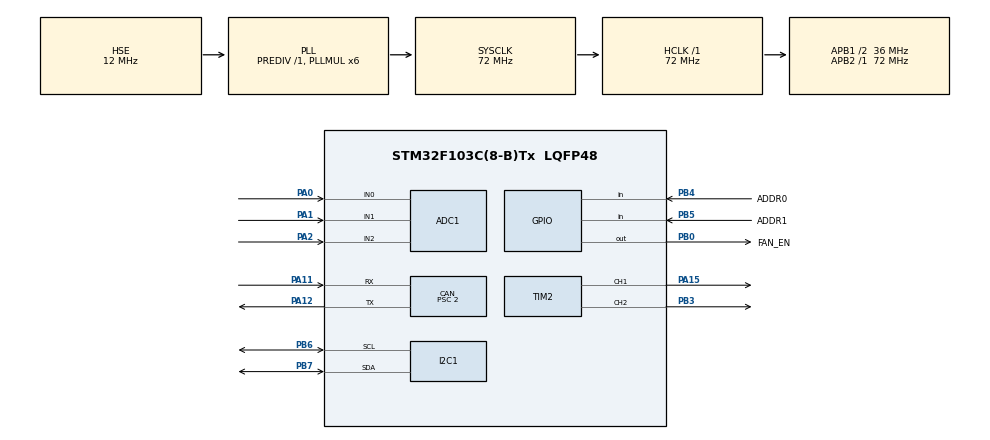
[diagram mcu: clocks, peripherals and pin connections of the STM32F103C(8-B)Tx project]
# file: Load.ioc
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ADC1.Channel-0\#ChannelRegularConversion=ADC_CHANNEL_0
ADC1.NbrOfConversionFlag=1
ADC1.Rank-0\#ChannelRegularConversion=1
ADC1.SamplingTime-0\#ChannelRegularConversion=ADC_SAMPLETIME_1CYCLE_5
ADC1.master=1
CAN.BS1=CAN_BS1_15TQ
CAN.BS2=CAN_BS2_2TQ
CAN.CalculateBaudRate=1000000
CAN.CalculateTimeBit=1000
CAN.CalculateTimeQuantum=55.55555555555556
CAN.Prescaler=2
I2C1.I2C_Mode=I2C_Fast
Mcu.Family=STM32F1
Mcu.Name=STM32F103C(8-B)Tx
Mcu.Package=LQFP48
NVIC.PriorityGroup=NVIC_PRIORITYGROUP_4
NVIC.USB_LP_CAN1_RX0_IRQn=true\:0\:0\:false\:false\:true\:true\:true\:true
PA0-WKUP.Signal=ADCx_IN0
PA1.Signal=ADCx_IN1
PA11.Mode=CAN_Activate
PA11.Signal=CAN_RX
PA12.Mode=CAN_Activate
PA12.Signal=CAN_TX
PA13.Mode=Serial_Wire
PA13.Signal=SYS_JTMS-SWDIO
PA14.Mode=Serial_Wire
PA14.Signal=SYS_JTCK-SWCLK
PA15.Signal=S_TIM2_CH1_ETR
PA2.Signal=ADCx_IN2
PB0.GPIO_Label=FAN_EN
PB0.Signal=GPIO_Output
PB3.Signal=S_TIM2_CH2
PB4.GPIO_Label=ADDR0
PB4.Signal=GPIO_Input
PB5.GPIO_Label=ADDR1
PB5.Signal=GPIO_Input
PB6.Mode=I2C
PB6.Signal=I2C1_SCL
PB7.Mode=I2C
PB7.Signal=I2C1_SDA
PD0-OSC_IN.Mode=HSE-External-Oscillator
PD0-OSC_IN.Signal=RCC_OSC_IN
PD1-OSC_OUT.Mode=HSE-External-Oscillator
PD1-OSC_OUT.Signal=RCC_OSC_OUT
ProjectManager.HeapSize=0x200
ProjectManager.StackSize=0x400
ProjectManager.TargetToolchain=Other Toolchains (GPDSC)
RCC.ADCPresc=RCC_ADCPCLK2_DIV6
RCC.AHBFreq_Value=72000000
RCC.APB1CLKDivider=RCC_HCLK_DIV2
RCC.APB1Freq_Value=36000000
RCC.APB1TimFreq_Value=72000000
RCC.APB2Freq_Value=72000000
RCC.APB2TimFreq_Value=72000000
RCC.HCLKFreq_Value=72000000
RCC.HSE_VALUE=12000000
RCC.PLLMUL=RCC_PLL_MUL6
RCC.PLLSourceVirtual=RCC_PLLSOURCE_HSE
RCC.SYSCLKFreq_VALUE=72000000
RCC.SYSCLKSource=RCC_SYSCLKSOURCE_PLLCLK
RCC.USBFreq_Value=72000000
SH.ADCx_IN0.0=ADC1_IN0,IN0
SH.ADCx_IN1.0=ADC1_IN1,IN1
SH.ADCx_IN2.0=ADC1_IN2,IN2
SH.S_TIM2_CH1_ETR.0=TIM2_CH1,PWM Generation1 CH1
SH.S_TIM2_CH2.0=TIM2_CH2,PWM Generation2 CH2
TIM2.Channel-PWM\ Generation1\ CH1=TIM_CHANNEL_1
TIM2.Channel-PWM\ Generation2\ CH2=TIM_CHANNEL_2
VP_TIM1_VS_ClockSourceINT.Mode=Internal
VP_TIM2_VS_ClockSourceINT.Mode=Internal
board=custom

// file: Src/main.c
/* USER CODE BEGIN Header */
/**
  ******************************************************************************
  * @file           : main.c
  * @brief          : Main program body
  ******************************************************************************
  * @attention
  *
  * <h2><center>&copy; Copyright (c) 2023 STMicroelectronics.
  * All rights reserved.</center></h2>
  *
  * This software component is licensed by ST under BSD 3-Clause license,
  * the "License"; You may not use this file except in compliance with the
  * License. You may obtain a copy of the License at:
  *                        opensource.org/licenses/BSD-3-Clause
  *
  ******************************************************************************
  */
/* USER CODE END Header */
#include "main.h"
#include "adc.h"
#include "can.h"
#include "i2c.h"
#include "tim.h"
#include "gpio.h"

/* USER CODE BEGIN Includes */
#include "modlab.h"

/* USER CODE END Includes */

/* USER CODE BEGIN PD */
#define ADC_A 251.3662556
#define PWM_FACTOR 2037.311873

/* USER CODE END PD */

/* USER CODE BEGIN PV */
uint8_t address, samples = 10, getTemp;

uint16_t setValues[2], getValues[2];

uint32_t raw;

// https://controllerstech.com/can-protocol-in-stm32/
CAN_TxHeaderTypeDef TxHeader;
CAN_RxHeaderTypeDef RxHeader;
uint8_t TxData[8];
uint32_t TxMailbox;
uint8_t RxData[8];
uint8_t stat = 0;

/* USER CODE END PV */

void SystemClock_Config(void);
/* USER CODE BEGIN PFP */
uint16_t ADC_read (uint8_t channel);
void CAN_Filter(uint8_t addr);
void set_channel(uint8_t channel, uint16_t val);
/* USER CODE END PFP */

int main(void)
{

  /* MCU Configuration--------------------------------------------------------*/

  /* Reset of all peripherals, Initializes the Flash interface and the Systick. */
  HAL_Init();

  /* Configure the system clock */
  SystemClock_Config();

  /* Initialize all configured peripherals */
  MX_GPIO_Init();
  MX_ADC1_Init();
  MX_CAN_Init();
  MX_TIM1_Init();
  MX_TIM2_Init();
  MX_I2C1_Init();
  /* USER CODE BEGIN 2 */
  timer_init();

  HAL_CAN_Start(&hcan);

  // get address
  address = ADDR_Load | (HAL_GPIO_ReadPin(GPIOB, GPIO_PIN_5)) | (HAL_GPIO_ReadPin(GPIOB, GPIO_PIN_4) << 1);

  // calibrate AD convertor
  while (HAL_ADCEx_Calibration_Start(&hadc1) != HAL_OK);

  HAL_TIM_PWM_Start(&htim2, TIM_CHANNEL_1); // Current Channel 1
  HAL_TIM_PWM_Start(&htim2, TIM_CHANNEL_2); // Current Channel 2

  TIM2->CCR1 = 0;
  TIM2->CCR2 = 0;

  HAL_GPIO_WritePin(FAN_EN_GPIO_Port, FAN_EN_Pin, 0);

  CAN_Filter(address);
  HAL_CAN_ActivateNotification(&hcan, CAN_IT_RX_FIFO0_MSG_PENDING);
  __enable_irq();
  /* USER CODE END 2 */

  /* Infinite loop */
  /* USER CODE BEGIN WHILE */
  while (1)
  {
    //read temp and set fans
    getTemp = ADC_read(2);
    if(getTemp >= 35)
      HAL_GPIO_WritePin(FAN_EN_GPIO_Port, FAN_EN_Pin, 1);
    if(getTemp < 30)
      HAL_GPIO_WritePin(FAN_EN_GPIO_Port, FAN_EN_Pin, 0);

    //set and get values
    set_channel(0, setValues[0]);
    set_channel(1, setValues[1]);
    HAL_Delay(10);
    getValues[0] = ADC_read(0);
    getValues[1] = ADC_read(1);

    //safety cutoff
    if(getTemp >= 60)
    {
      set_channel(0, 0);
      set_channel(1, 0);
    }
    /* USER CODE END WHILE */

  }
}

void SystemClock_Config(void)
{
  RCC_OscInitTypeDef RCC_OscInitStruct = {0};
  RCC_ClkInitTypeDef RCC_ClkInitStruct = {0};
  RCC_PeriphCLKInitTypeDef PeriphClkInit = {0};

  /** Initializes the RCC Oscillators according to the specified parameters
  * in the RCC_OscInitTypeDef structure.
  */
  RCC_OscInitStruct.OscillatorType = RCC_OSCILLATORTYPE_HSE;
  RCC_OscInitStruct.HSEState = RCC_HSE_ON;
  RCC_OscInitStruct.HSEPredivValue = RCC_HSE_PREDIV_DIV1;
  RCC_OscInitStruct.HSIState = RCC_HSI_ON;
  RCC_OscInitStruct.PLL.PLLState = RCC_PLL_ON;
  RCC_OscInitStruct.PLL.PLLSource = RCC_PLLSOURCE_HSE;
  RCC_OscInitStruct.PLL.PLLMUL = RCC_PLL_MUL6;
  if (HAL_RCC_OscConfig(&RCC_OscInitStruct) != HAL_OK)
  {
    Error_Handler();
  }
  /** Initializes the CPU, AHB and APB buses clocks
  */
  RCC_ClkInitStruct.ClockType = RCC_CLOCKTYPE_HCLK|RCC_CLOCKTYPE_SYSCLK
                              |RCC_CLOCKTYPE_PCLK1|RCC_CLOCKTYPE_PCLK2;
  RCC_ClkInitStruct.SYSCLKSource = RCC_SYSCLKSOURCE_PLLCLK;
  RCC_ClkInitStruct.AHBCLKDivider = RCC_SYSCLK_DIV1;
  RCC_ClkInitStruct.APB1CLKDivider = RCC_HCLK_DIV2;
  RCC_ClkInitStruct.APB2CLKDivider = RCC_HCLK_DIV1;

  if (HAL_RCC_ClockConfig(&RCC_ClkInitStruct, FLASH_LATENCY_2) != HAL_OK)
  {
    Error_Handler();
  }
  PeriphClkInit.PeriphClockSelection = RCC_PERIPHCLK_ADC;
  PeriphClkInit.AdcClockSelection = RCC_ADCPCLK2_DIV6;
  if (HAL_RCCEx_PeriphCLKConfig(&PeriphClkInit) != HAL_OK)
  {
    Error_Handler();
  }
}

/* USER CODE BEGIN 4 */
void HAL_CAN_RxFifo0MsgPendingCallback(CAN_HandleTypeDef *hcan)
{
  if (HAL_CAN_GetRxMessage(hcan, CAN_RX_FIFO0, &RxHeader, RxData) != HAL_OK)
  {
    Error_Handler();
  }

  //Send Ping
  if (RxData[0] == CMD_PING)
  {
    send_rec(address, RxData[0], stat);
  }
  else if (RxData[0] == CMD_SET16) // set 16bit
  {
    switch (RxData[1])
    {
    case LOAD_CH0_Set:
      setValues[0] = (RxData[2] << 8) | RxData[3];
      stat = 0;
      break;
    case LOAD_CH1_Set:
      setValues[1] = (RxData[2] << 8) | RxData[3];
      stat = 0;
      break;
    default: // Index Mismatch
      stat = 1;
      break;
    }
    send_rec(address, RxData[0], stat);
  }
  else if (RxData[0] == CMD_GET16) // get 16bit
  {
    switch (RxData[1])
    {
    case LOAD_CH0_Get:
      stat = 0;
      send_rec16(address, RxData[0], stat, getValues[0]);
      break;
    case LOAD_CH1_Get:
      stat = 0;
      send_rec16(address, RxData[0], stat, getValues[1]);
      break;
    default: // Index Mismatch
      stat = 1;
      send_rec(address, RxData[0], stat);
      break;
    }
  }
  else if (RxData[0] == CMD_GET8) // get 8bit
  {
    if(RxData[1] == LOAD_TEMP_Get)
    {
      stat = 0;
      send_rec8(address, RxData[0], stat, getTemp);
    }
    else // Index Mismatch
    {
      stat = 1;
      send_rec(address, RxData[0], stat);
    }
  }
  else // Unknown Command
  {
    stat = 0x40;
    send_rec(address, RxData[0], stat);
  }
}

void CAN_Filter(uint8_t addr)
{
  CAN_FilterTypeDef canfilterconfig;

  canfilterconfig.FilterActivation = CAN_FILTER_ENABLE;
  canfilterconfig.FilterBank = 0; // which filter bank to use from the assigned ones
  canfilterconfig.FilterFIFOAssignment = CAN_FILTER_FIFO0;
  canfilterconfig.FilterIdHigh = (0x500 | addr) << 5;
  canfilterconfig.FilterIdLow = 0;
  canfilterconfig.FilterMaskIdHigh = 0x1FFF;
  canfilterconfig.FilterMaskIdLow = 0xFFFF;
  canfilterconfig.FilterMode = CAN_FILTERMODE_IDMASK;
  canfilterconfig.FilterScale = CAN_FILTERSCALE_32BIT;
  canfilterconfig.SlaveStartFilterBank = 1; // how many filters to assign to the CAN1 (master can)

  HAL_CAN_ConfigFilter(&hcan, &canfilterconfig);
}

uint16_t ADC_read (uint8_t channel)
{
  if(channel == 0)
    ADC_Select_CH0();
  else if (channel == 1)
    ADC_Select_CH1();
  else
    ADC_Select_CH2();

  HAL_Delay(1);

  raw = 0;

  for (int i = 0; i < samples; i++)
  {
    delay_us(100);
    HAL_ADC_Start(&hadc1);
    HAL_ADC_PollForConversion(&hadc1, HAL_MAX_DELAY);
    raw += HAL_ADC_GetValue(&hadc1);
  }
  if(channel == 0 || channel == 1)
    return ((raw / samples)*100)/ADC_A;
    //returns currents in 10mA increments
  else
    return ((raw / samples)*3.3)/40;
    //returns temperature in °C increments
}

//set current in 10mA
void set_channel(uint8_t channel, uint16_t val)
{
  if(channel == 0)
    TIM2->CCR1 = (val*PWM_FACTOR)/100;
  else
    TIM2->CCR2 = (val*PWM_FACTOR)/100;
}

/* USER CODE END 4 */

void Error_Handler(void)
{
  __disable_irq();
  while (1)
  {
  }
}

/************************ (C) COPYRIGHT STMicroelectronics *****END OF FILE****/
